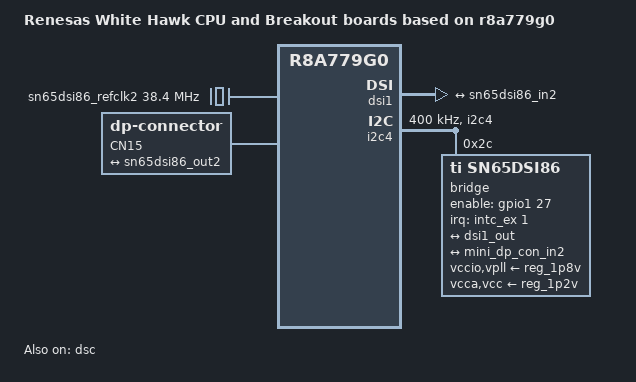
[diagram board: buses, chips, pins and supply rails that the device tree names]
// SPDX-License-Identifier: (GPL-2.0-only OR BSD-2-Clause)
/*
 * Device Tree Source for the R-Car V4H White Hawk CPU and BreakOut boards
 *
 * Copyright (C) 2022 Renesas Electronics Corp.
 */

/dts-v1/;
#include "r8a779g0-white-hawk-cpu.dtsi"
#include "white-hawk-common.dtsi"

/ {
	model = "Renesas White Hawk CPU and Breakout boards based on r8a779g0";
	compatible = "renesas,white-hawk-breakout", "renesas,white-hawk-cpu", "renesas,r8a779g0";

	sn65dsi86_refclk2: clk-x16 {
		compatible = "fixed-clock";
		#clock-cells = <0>;
		clock-frequency = <38400000>;
	};

	mini-dp-con2 {
		compatible = "dp-connector";
		label = "CN15";
		type = "mini";

		port {
			mini_dp_con_in2: endpoint {
				remote-endpoint = <&sn65dsi86_out2>;
			};
		};
	};
};

&dsc {
	status = "okay";
};

&dsi1 {
	status = "okay";

	ports {
		port@1 {
			dsi1_out: endpoint {
				remote-endpoint = <&sn65dsi86_in2>;
				data-lanes = <1 2 3 4>;
			};
		};
	};
};

&i2c4 {
	pinctrl-0 = <&i2c4_pins>;
	pinctrl-names = "default";

	status = "okay";
	clock-frequency = <400000>;

	bridge@2c {
		pinctrl-0 = <&irq1_pins>;
		pinctrl-names = "default";

		compatible = "ti,sn65dsi86";
		reg = <0x2c>;

		clocks = <&sn65dsi86_refclk2>;
		clock-names = "refclk";

		interrupts-extended = <&intc_ex 1 IRQ_TYPE_LEVEL_HIGH>;

		enable-gpios = <&gpio1 27 GPIO_ACTIVE_HIGH>;

		vccio-supply = <&reg_1p8v>;
		vpll-supply = <&reg_1p8v>;
		vcca-supply = <&reg_1p2v>;
		vcc-supply = <&reg_1p2v>;

		ports {
			#address-cells = <1>;
			#size-cells = <0>;

			port@0 {
				reg = <0>;
				sn65dsi86_in2: endpoint {
					remote-endpoint = <&dsi1_out>;
				};
			};

			port@1 {
				reg = <1>;
				sn65dsi86_out2: endpoint {
					remote-endpoint = <&mini_dp_con_in2>;
				};
			};
		};
	};
};

&pfc {
	i2c4_pins: i2c4 {
		groups = "i2c4";
		function = "i2c4";
	};

	irq1_pins: irq1 {
		groups = "intc_ex_irq1_a";
		function = "intc_ex";
	};
};
